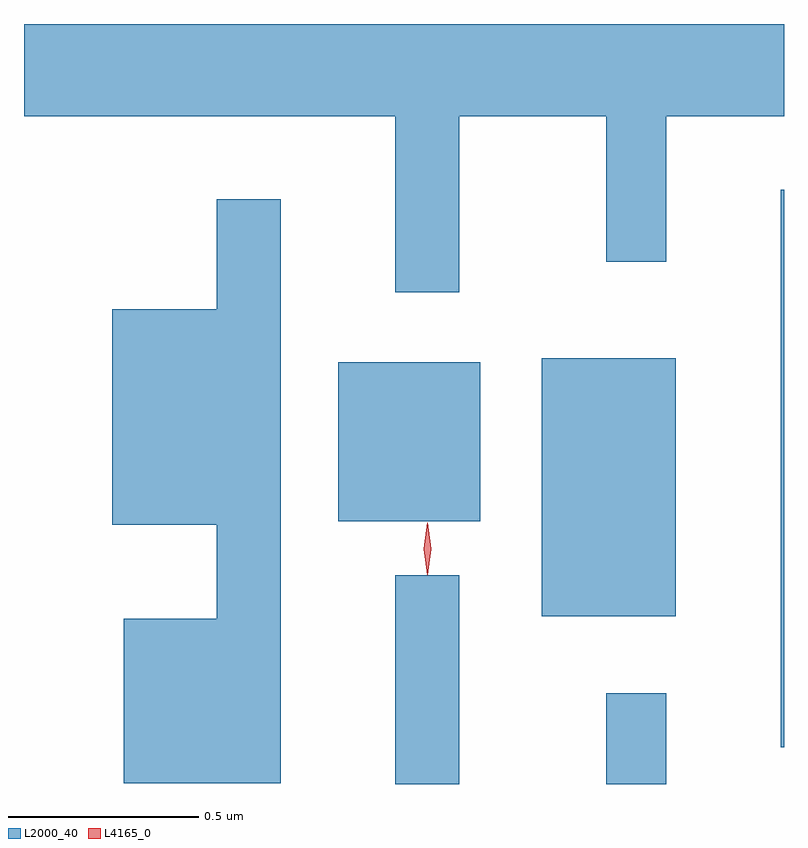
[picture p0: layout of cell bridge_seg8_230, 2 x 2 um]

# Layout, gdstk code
import gdstk
lib = gdstk.Library(unit=1e-6, precision=1e-09)
def R(c, l, rs):  # rectangles x0, y0, x1, y1
    for r in rs: c.add(gdstk.rectangle(r[:2], r[2:], *l))
def P(c, l, *ps):  # polygons
    for p in ps: c.add(gdstk.Polygon(p, *l))
L2000_40 = (2000, 40)
L4165_0 = (4165, 0)

bridge_seg8_230 = lib.new_cell('bridge_seg8_230')
R(bridge_seg8_230, L2000_40, [(1120.661,1910.139,1120.829,1910.688), (1121.216,1910.139,1121.374,1910.378), (1121.676,1910.236,1121.684,1911.703), (1121.046,1910.581,1121.399,1911.259), (1120.511,1910.831,1120.884,1911.249)])
P(bridge_seg8_230, L2000_40, [(1120.829,1911.896),(1121.216,1911.896),(1121.216,1911.513),(1121.374,1911.513),(1121.374,1911.896),(1121.684,1911.896),(1121.684,1912.139),(1119.684,1912.139),(1119.684,1911.896),(1120.661,1911.896),(1120.661,1911.433),(1120.829,1911.433)],
  [(1120.359,1911.678),(1120.191,1911.678),(1120.191,1911.389),(1119.916,1911.389),(1119.916,1910.821),(1120.191,1910.821),(1120.191,1910.574),(1119.946,1910.574),(1119.946,1910.141),(1120.359,1910.141)])
P(bridge_seg8_230, L4165_0, [(1120.745,1910.693),(1120.736,1910.757),(1120.745,1910.821),(1120.746,1910.822),(1120.746,1910.821),(1120.756,1910.757),(1120.746,1910.693),(1120.746,1910.693)],
  [(1120.746,1910.689),(1120.745,1910.69),(1120.736,1910.758),(1120.745,1910.826),(1120.746,1910.826),(1120.746,1910.826),(1120.756,1910.758),(1120.746,1910.69)])

lib.write_gds('bridge_seg8_230.gds')
